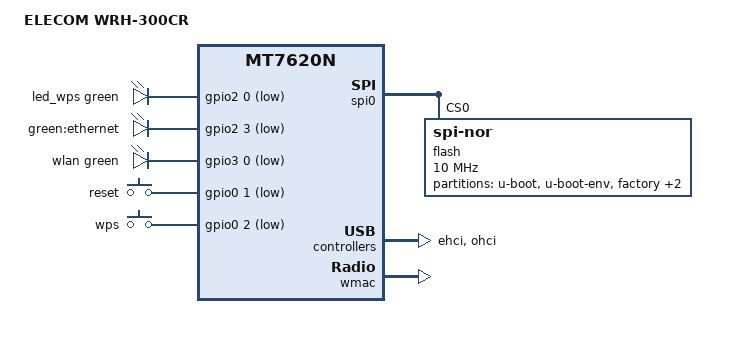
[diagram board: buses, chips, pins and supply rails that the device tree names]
#include "mt7620n.dtsi"

#include <dt-bindings/gpio/gpio.h>
#include <dt-bindings/input/input.h>
#include <dt-bindings/leds/common.h>

/ {
	compatible = "elecom,wrh-300cr", "ralink,mt7620n-soc";
	model = "ELECOM WRH-300CR";

	aliases {
		led-boot = &led_wps;
		led-failsafe = &led_wps;
		led-running = &led_wps;
		led-upgrade = &led_wps;
	};

	leds {
		compatible = "gpio-leds";

		led_wps: wps {
			function = LED_FUNCTION_WPS;
			color = <LED_COLOR_ID_GREEN>;
			gpios = <&gpio2 0 GPIO_ACTIVE_LOW>;
		};

		ethernet {
			label = "green:ethernet";
			gpios = <&gpio2 3 GPIO_ACTIVE_LOW>;
		};

		wlan {
			function = LED_FUNCTION_WLAN;
			color = <LED_COLOR_ID_GREEN>;
			gpios = <&gpio3 0 GPIO_ACTIVE_LOW>;
		};
	};

	keys {
		compatible = "gpio-keys";

		reset {
			label = "reset";
			gpios = <&gpio0 1 GPIO_ACTIVE_LOW>;
			linux,code = <KEY_RESTART>;
		};

		wps {
			label = "wps";
			gpios = <&gpio0 2 GPIO_ACTIVE_LOW>;
			linux,code = <KEY_WPS_BUTTON>;
		};
	};
};

&gpio2 {
	status = "okay";
};

&gpio3 {
	status = "okay";
};

&spi0 {
	status = "okay";

	flash@0 {
		compatible = "jedec,spi-nor";
		reg = <0>;
		spi-max-frequency = <10000000>;

		partitions {
			compatible = "fixed-partitions";
			#address-cells = <1>;
			#size-cells = <1>;

			partition@0 {
				label = "u-boot";
				reg = <0x0 0x30000>;
				read-only;
			};

			partition@30000 {
				label = "u-boot-env";
				reg = <0x30000 0x10000>;
			};

			partition@40000 {
				label = "factory";
				reg = <0x40000 0x10000>;
				read-only;

				nvmem-layout {
					compatible = "fixed-layout";
					#address-cells = <1>;
					#size-cells = <1>;

					eeprom_factory_0: eeprom@0 {
						reg = <0x0 0x200>;
					};

					macaddr_factory_2e: macaddr@2e {
						reg = <0x2e 0x6>;
					};
				};
			};

			partition@50000 {
				label = "recover";
				reg = <0x50000 0x1c0000>;
				read-only;
			};

			partition@210000 {
				compatible = "denx,uimage";
				label = "firmware";
				reg = <0x210000 0xdf0000>;
			};
		};
	};
};

&ehci {
	status = "okay";
};

&ohci {
	status = "okay";
};

&ethernet {
	nvmem-cells = <&macaddr_factory_2e>;
	nvmem-cell-names = "mac-address";

	mediatek,portmap = "llllw";
};

&wmac {
	nvmem-cells = <&eeprom_factory_0>;
	nvmem-cell-names = "eeprom";
};

&state_default {
	default {
		groups = "i2c", "ephy", "wled";
		function = "gpio";
	};
};
